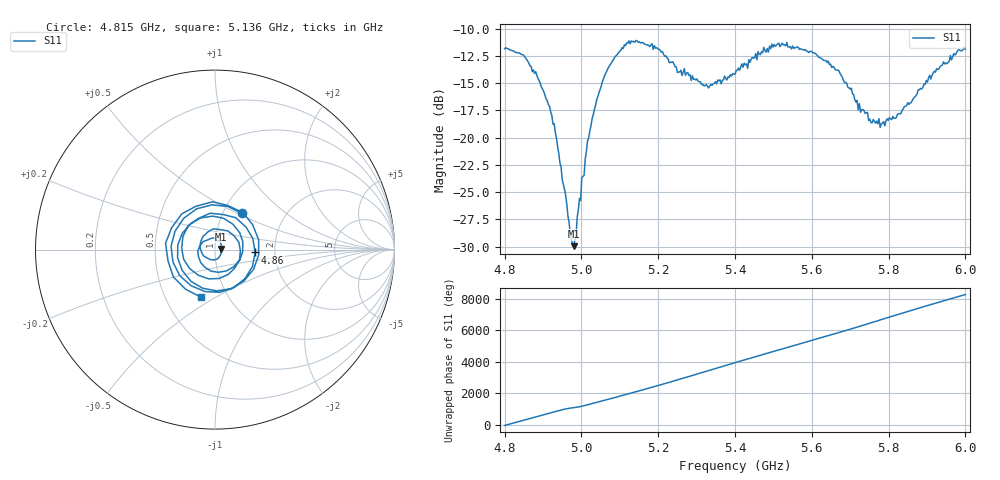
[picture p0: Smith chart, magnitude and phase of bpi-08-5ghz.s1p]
! NanoVNA-App
! Date: 2026-05-22 17:56:58
! Start: 4.8GHz Stop: 6GHz Points: 401
! S-Parameter data: F S11
# Hz S RI R 50
!  Frequency  S11_Real  S11_Imag
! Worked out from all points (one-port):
!   401 points, 4.8 GHz to 6 GHz, reference 50 ohm
!   lowest |S11| = -29.9 dB at 4.98 GHz (marker M1), VSWR 1.07, Z = 53.3 + j0.307 ohm
!   |S11| at or under -10 dB: start of sweep to end of sweep
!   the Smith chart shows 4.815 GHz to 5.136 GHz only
!   S11 on the Smith chart (normalised r, x): 4.815 GHz: 1.23, +0.53; 4.86 GHz: 1.57, -0.05; 5.136 GHz: 0.75, -0.43
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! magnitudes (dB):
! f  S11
! 4.8 GHz  -11.9
! 4.815 GHz  -12.0
! 4.86 GHz  -13.0
! 4.887 GHz  -14.6
! 4.917 GHz  -17.1
! 4.935 GHz  -20.1
! 4.95 GHz  -23.8
! 4.971 GHz  -28.8
! 4.98 GHz  -29.9
! 4.986 GHz  -29.1
! 5.016 GHz  -20.3
! 5.034 GHz  -17.4
! 5.064 GHz  -14.1
! 5.1 GHz  -12.1
! 5.136 GHz  -11.2
! 5.196 GHz  -11.8
! 5.25 GHz  -14.0
! 5.328 GHz  -15.3
! 5.4 GHz  -14.2
! 5.496 GHz  -11.4
! 5.55 GHz  -11.6
! 5.643 GHz  -13.0
! 5.7 GHz  -15.6
! 5.754 GHz  -18.6
! 5.784 GHz  -18.7
! 5.85 GHz  -16.8
! 5.922 GHz  -14.0
! 6 GHz  -11.9
